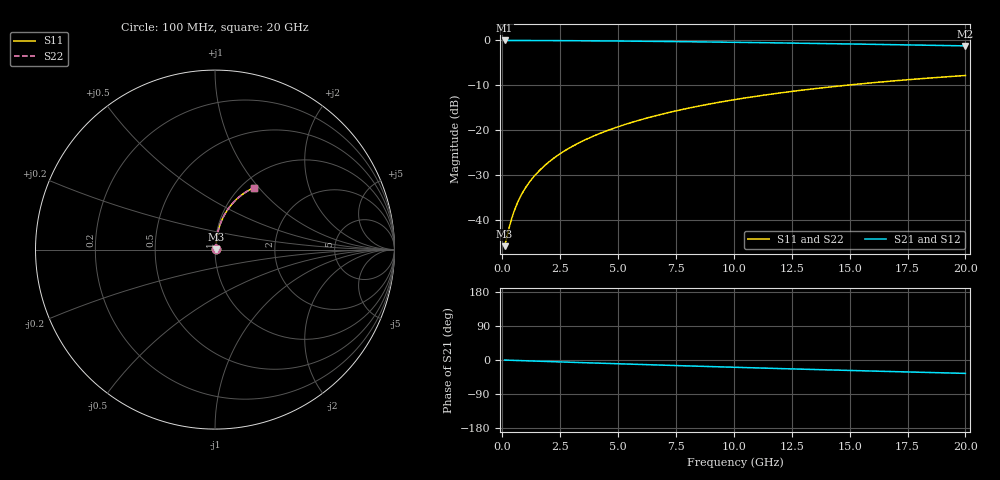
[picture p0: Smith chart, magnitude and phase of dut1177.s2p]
! Touchstone file exported from HFSS 2024.1.0
!  File:  C:/UserFiles/LocalFiles/RDL_TSV_Batchsim/temp_RDL_bottom_1177_1780057085.aedt
!  Generated:  08:20:35 PM May 29, 2026
!  Design:  RDL_bottom
!  Project:  temp_RDL_bottom_1177_1780057085
!  Setup:  Setup1
!  Solution:  Sweep
! Variables:
!  dtsv = 10.80580581um
!  hbump = 3um
!  htsv = 93.93um
!  ldown = 416.23um
!  lrdl = 100um
!  p = 40
!  p1 = 53.47um
!  rhole = 1um
!  t = 450um
!  tdown = 2.17um
!  trdl = 3.915915916um
!  wdown = 15.64um
!  wrdl = 20um
# GHz S MA R 50.000000
! Terminal data exported
! Port[1] = RDL1_T1
! Port[2] = RDL1_T2
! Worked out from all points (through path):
!   200 points, 100 MHz to 20 GHz, reference 50 ohm
!   highest |S21| = -0.04 dB at 100 MHz (marker M1); lowest = -1.2 dB at 20 GHz (marker M2)
!   group delay of S21, straight-line fit = 4.9 ps
!   lowest |S11| = -45.8 dB at 100 MHz (marker M3), VSWR 1.01, Z = 50.5 + j0.23 ohm
!   |S11| at or under -10 dB: start of sweep to 14.88 GHz
!   |S22| runs from -45.8 to -7.8 dB; largest |S21 - S12| = 2.6e-15
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0.1  0.005118 26.5  0.9954 -0.2  0.9954 -0.2  0.005118 26.5
! Gamma 0 0 0 0
! Port Impedance 50 0 50 0
0.3  0.008293 55.2  0.9953 -0.6  0.9953 -0.6  0.008293 55.2
0.4  0.01026 61.8  0.9951 -0.8  0.9951 -0.8  0.01026 61.8
0.5  0.01231 66.1  0.995 -1.0  0.995 -1.0  0.01231 66.1
0.6  0.01439 69.1  0.9948 -1.2  0.9948 -1.2  0.01439 69.1
0.7  0.01648 71.3  0.9947 -1.5  0.9947 -1.5  0.01648 71.3
0.9  0.02068 74.3  0.9943 -1.9  0.9943 -1.9  0.02068 74.3
1.2  0.027 77.0  0.9938 -2.5  0.9938 -2.5  0.027 77.0
1.4  0.03123 78.2  0.9934 -2.9  0.9934 -2.9  0.03123 78.2
1.7  0.0376 79.4  0.9928 -3.5  0.9928 -3.5  0.0376 79.4
2.2  0.04827 80.5  0.9917 -4.5  0.9917 -4.5  0.04827 80.5
2.8  0.06116 81.0  0.99 -5.7  0.99 -5.7  0.06116 81.0
3.5  0.07632 81.1  0.9876 -7.0  0.9876 -7.0  0.07632 81.1
4.2  0.09157 80.8  0.9848 -8.4  0.9848 -8.4  0.09157 80.8
5  0.1091 80.2  0.9812 -10.0  0.9812 -10.0  0.1091 80.2
5.9  0.1288 79.3  0.9765 -11.7  0.9765 -11.7  0.1289 79.3
6.8  0.1486 78.2  0.9713 -13.4  0.9713 -13.4  0.1486 78.2
8.4  0.1835 76.0  0.9611 -16.3  0.9611 -16.3  0.1836 76.0
10.1  0.22 73.4  0.9491 -19.4  0.9491 -19.4  0.22 73.5
13.4  0.2877 68.2  0.9233 -25.0  0.9233 -25.0  0.2877 68.2
16.7  0.3498 63.0  0.8954 -30.3  0.8954 -30.3  0.3499 63.0
20  0.4055 58.0  0.8666 -35.3  0.8666 -35.3  0.4056 58.1
